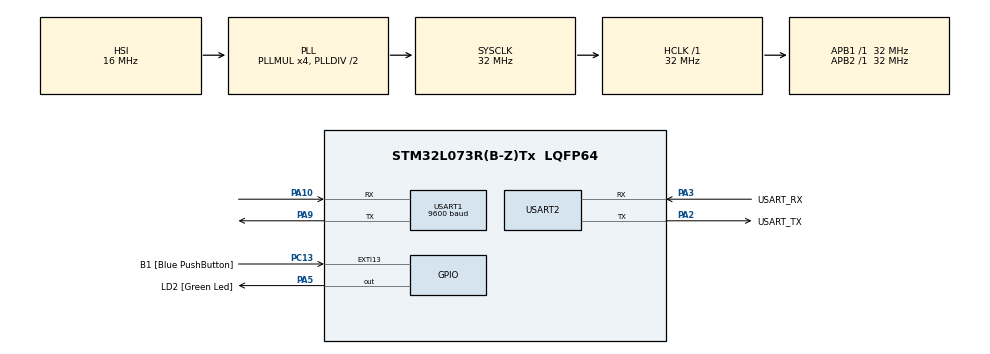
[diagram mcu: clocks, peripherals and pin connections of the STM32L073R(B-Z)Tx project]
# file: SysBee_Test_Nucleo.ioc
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Mcu.Family=STM32L0
Mcu.Name=STM32L073R(B-Z)Tx
Mcu.Package=LQFP64
PA10.Mode=Asynchronous
PA10.Signal=USART1_RX
PA13.GPIO_Label=TMS
PA13.Mode=Serial_Wire
PA13.Signal=SYS_SWDIO
PA14.GPIO_Label=TCK
PA14.Mode=Serial_Wire
PA14.Signal=SYS_SWCLK
PA2.GPIO_Label=USART_TX
PA2.Mode=Asynchronous
PA2.Signal=USART2_TX
PA3.GPIO_Label=USART_RX
PA3.Mode=Asynchronous
PA3.Signal=USART2_RX
PA5.GPIO_Label=LD2 [Green Led]
PA5.Signal=GPIO_Output
PA9.Mode=Asynchronous
PA9.Signal=USART1_TX
PC13.GPIO_Label=B1 [Blue PushButton]
PC13.GPIO_ModeDefaultEXTI=GPIO_MODE_IT_FALLING
PC13.Signal=GPXTI13
PC14-OSC32_IN.Mode=LSE-External-Oscillator
PC14-OSC32_IN.Signal=RCC_OSC32_IN
PC15-OSC32_OUT.Mode=LSE-External-Oscillator
PC15-OSC32_OUT.Signal=RCC_OSC32_OUT
PH0-OSC_IN.GPIO_Label=MCO
PH0-OSC_IN.Mode=HSE-External-Clock-Source
PH0-OSC_IN.Signal=RCC_OSC_IN
ProjectManager.HeapSize=0x200
ProjectManager.StackSize=0x400
ProjectManager.TargetToolchain=STM32CubeIDE
RCC.ADCEnable-ClockTree=false
RCC.AHBFreq_Value=32000000
RCC.APB1Freq_Value=32000000
RCC.APB1TimFreq_Value=32000000
RCC.APB2Freq_Value=32000000
RCC.APB2TimFreq_Value=32000000
RCC.HCLKFreq_Value=32000000
RCC.HSE_VALUE=8000000
RCC.HSI16_VALUE=16000000
RCC.HSI48_VALUE=48000000
RCC.HSI_VALUE=16000000
RCC.MSI_VALUE=2097000
RCC.PLLMUL=RCC_PLLMUL_4
RCC.SYSCLKFreq_VALUE=32000000
RCC.SYSCLKSource=RCC_SYSCLKSOURCE_PLLCLK
RCC.VCOOutputFreq_Value=64000000
USART1.BaudRate=9600
USART1.VirtualMode-Asynchronous=VM_ASYNC
USART2.VirtualMode-Asynchronous=VM_ASYNC
board=NUCLEO-L073RZ

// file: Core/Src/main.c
/* USER CODE BEGIN Header */

//PGM TEST DEV BOARD

/**
  ******************************************************************************
  * @file           : main.c
  * @brief          : Main program body
  ******************************************************************************
  * @attention
  *
  * <h2><center>&copy; Copyright (c) 2021 STMicroelectronics.
  * All rights reserved.</center></h2>
  *
  * This software component is licensed by ST under BSD 3-Clause license,
  * the "License"; You may not use this file except in compliance with the
  * License. You may obtain a copy of the License at:
  *                        opensource.org/licenses/BSD-3-Clause
  *
  ******************************************************************************
  */
/* USER CODE END Header */
#include "main.h"

/* USER CODE BEGIN PM */

#define transmit_request 0x10
#define receive_packet 0x90
#define remote_command_response 0x97
#define remote_AT_command_request 0x17

#define timeout_duration 200

/* USER CODE END PM */

UART_HandleTypeDef huart1;
UART_HandleTypeDef huart2;

/* USER CODE BEGIN PV */

uint8_t lora_status;
uint8_t xbee_rx_last_byte;
uint8_t xbee_rx_buffer[256];
uint8_t xbee_rx_read_index = 0;
uint8_t xbee_rx_write_index = 0;

uint8_t test_string[100] = { 0x7E, 0x00, 0x0F, 0x90, 0x00, 0x00, 0x00, 0x00, 0x00, 0x00, 0x00, 0x00, 0x00, 0x00, 0x00, 0xEE, 0xBA, 0xBA, 0x0D };

uint8_t config[20][2][10] = { 		//CONFIG INITIALE XBEE
	{"ID", "1111"}, // network id
	{"NI", "DEMOABC"}, // node id
	{"CE", "0"},	// coordinator mode
	{"AP", "1"},  	// API enable
	{"SP", "20"},	// cyclic sleep period
	{"SN", "100"},  // number of sleep periods
	{"SM", "0"},	// sleep mode
	{"ST", "500"}   // time before sleep
};
uint8_t config_step;

uint8_t config_length = 4;

enum xbee_send_states {		//AUTOMATE DE CONFIG INITIALE XBEE
	enter_command_mode,
	command_mode_ok,
	send_config,
	config_ok,
	single_command,
	single_command_ok,
	config_over
} xbee_send_state;

enum xbee_receive_states {
	idle,
	frame_length,
	frame_type,
	frame_id,
	frame_address64,
	frame_address16,
	frame_option,
	frame_at_status,
	frame_content,
	check_sum,
	process_content
} xbee_receive_state;

struct frame{
    uint16_t length;
    uint8_t type;
    uint8_t id; //AT
    uint64_t address64;
    uint16_t address16;
    uint8_t option;
    uint8_t content[256];
    uint8_t content_index;
    uint8_t command_status[4]; //AT
    uint8_t check_sum;
    uint8_t check_sum_ok;
};

//AT COMMANDS https://cdn.sparkfun.com/assets/resources/2/9/22AT_Commands.pdf

struct frame received_frame;

/* USER CODE END PV */

void SystemClock_Config(void);
static void MX_GPIO_Init(void);
static void MX_USART2_UART_Init(void);
static void MX_USART1_UART_Init(void);
/* USER CODE BEGIN PFP */

void HAL_UART_RxCpltCallback(UART_HandleTypeDef *huart);
void check_coordinator();
void read_xbee();

/* USER CODE END PFP */

int main(void)
{

  /* MCU Configuration--------------------------------------------------------*/

  /* Reset of all peripherals, Initializes the Flash interface and the Systick. */
  HAL_Init();

  /* Configure the system clock */
  SystemClock_Config();

  /* Initialize all configured peripherals */
  MX_GPIO_Init();
  MX_USART2_UART_Init();
  MX_USART1_UART_Init();
  /* USER CODE BEGIN 2 */

  HAL_UART_Receive_IT(&huart1, &xbee_rx_last_byte, 1);

  while(xbee_send_state != config_over){	//TANT QUE LA CONFIG N'EST PAS FINIE
	  static uint16_t timeout;
	  char string[50] = {0};
	  switch(xbee_send_state){

		  case enter_command_mode:
			  HAL_UART_Transmit(&huart1, "+++", 3, 100);	//entrée en Command Mode
			  timeout = 0;
			  xbee_send_state = command_mode_ok;
		  break;

		  case command_mode_ok:
			  if(xbee_rx_buffer[xbee_rx_write_index-2] == 'O' && xbee_rx_buffer[xbee_rx_write_index-1] == 'K'){		//vérification que la réponse est "OK"
				  xbee_send_state = single_command;
			  	  timeout = 0;
			  }
			  else {
				  HAL_Delay(1);		//si on n'obtient pas de "OK", on attend en incrémentant la variable de timeout
				  timeout++;
				  if (timeout >= timeout_duration)
					  xbee_send_state = enter_command_mode;		//si on timeout, on recommence la config
			  }
		  break;

		  case single_command:
			  HAL_UART_Transmit(&huart1, "ATRE\r", 5, 100);		//remise à défaut de tous les paramètres
			  timeout = 0;
			  xbee_send_state = single_command_ok;
		  break;

		  case single_command_ok:
			  if(xbee_rx_buffer[xbee_rx_write_index-2] == 'O' && xbee_rx_buffer[xbee_rx_write_index-1] == 'K'){		//vérifcation que la réponse est "OK"
				  xbee_send_state = send_config;
				  timeout = 0;
			  }
			  else {
				  HAL_Delay(1); 	//si on n'obtient pas de "OK", on attend en incrémentant la variable de timeout
				  timeout++;
				  if (timeout >= timeout_duration)
					  xbee_send_state = enter_command_mode; 	//si on timeout, on recommence la config
			  }
		  break;

		  case send_config:
			  if(config_step == config_length){		//si config_step == 4 (4e étape de config) (config_step est incrémenté dans un autre état)
				  sprintf(string, "ATWR\r");		//on écrit "ATWR" (commande Write) dans le tableau string
			  }
			  else sprintf(string, "AT%s%s\r", config[config_step][0], config[config_step][1]); 	//sinon on écrit dans string la commande AT de la ligne config_step de config[] (ex: ligne 0 -> ATID1111)
			  if(config_step==config_length){	//si config_step = 4, alors config_step = 4? pas compris l'intérêt
				  config_step = 4;
			  }
			  HAL_UART_Transmit(&huart1, string, strlen(string), 100);		//envoie string (soit ATWR soit une autre commande de config) à la carte XBee
			  xbee_send_state = config_ok;
		  break;

		  case config_ok:
			  if(xbee_rx_buffer[xbee_rx_write_index-2] == 'O' && xbee_rx_buffer[xbee_rx_write_index-1] == 'K'){ 	//vérifcation que la réponse est "OK"
				  if(config_step == config_length)		//si config_step==4 alors config terminée -> pas d'écriture d'une partie du tableau de config...
					  xbee_send_state = config_over;	//confi finie, on sort du while()
				  timeout = 0;
				  config_step++;	//sinon on incrémente config_step (pour envoyer la ligne suivante du tableau config, jusqu'à arriver à 4)
				  xbee_send_state = send_config;	//on retourne à l'état send_config pour écrire dans string la nouvelle commande AT de config et l'envoyer
			  }
			  else {
				  HAL_Delay(1);		//si on n'obtient pas de "OK", on attend en incrémentant la variable de timeout
				  timeout++;
				  if (timeout >= timeout_duration)
					  xbee_send_state = enter_command_mode;		//si on timeout, on recommence la config
			  }
		  break;

		  default: break;
	  }
  }

  /* USER CODE END 2 */

  /* Infinite loop */
  while (1)
  {

    /* USER CODE BEGIN 3 */

	  if(xbee_rx_read_index<xbee_rx_write_index){
		  uint64_t sum = 0;
		  static uint8_t multiple_byte_step;

		  switch (xbee_receive_state){
			  case idle:
				  if(xbee_rx_buffer[xbee_rx_read_index] == 0x7E) xbee_receive_state = frame_length;
				  /*else if (lora_requested && xbee_rx_buffer[xbee_rx_read_index] == 0xAA){
					  is_coordinator = True;
					  lora_requested = False;
				  }*/
			  break;

			  case frame_length:
				  received_frame.length += ((uint16_t)(xbee_rx_buffer[xbee_rx_read_index])) << (8-8*multiple_byte_step) ;
				  if(multiple_byte_step){
					  multiple_byte_step = 0;
					  xbee_receive_state = frame_type;
				  }
				  else{
					  multiple_byte_step++;
				  }
			  break;

			  case frame_type:
				  received_frame.type = xbee_rx_buffer[xbee_rx_read_index];
				  switch(received_frame.type){
				  	  case receive_packet: xbee_receive_state = frame_address64; break;
				  	  case remote_command_response: xbee_receive_state = frame_id; break;
				  	  default: xbee_rx_read_index = xbee_rx_write_index;
				  	  	  	   xbee_receive_state = idle;
				  	  break;
				  }

				  multiple_byte_step = 0;
			  break;

			  case frame_id:
				  received_frame.id = xbee_rx_buffer[xbee_rx_read_index];
				  xbee_receive_state = frame_address64;
			  break;

			  case frame_address64:
				  received_frame.address64 += ((uint64_t)xbee_rx_buffer[xbee_rx_read_index]) << (56-8*multiple_byte_step);

				  if(multiple_byte_step == 7){
					  xbee_receive_state = frame_address16;
					  multiple_byte_step = 0;
				  }
				  else multiple_byte_step++;
			  break;

			  case frame_address16:
				  received_frame.address16 += ((uint16_t)xbee_rx_buffer[xbee_rx_read_index]) << (8-8*multiple_byte_step);
				  if(multiple_byte_step == 1){
					  switch(received_frame.type){
					  	  case receive_packet: xbee_receive_state = frame_option; break;
					  	  case remote_command_response: xbee_receive_state = frame_at_status; break;
					  	  default: xbee_rx_read_index = xbee_rx_write_index;
							       xbee_receive_state = idle;
						  break;
					  }

					  multiple_byte_step = 0;
				  }
				  else multiple_byte_step++;
			  break;

			  case frame_option:
				  received_frame.option = xbee_rx_buffer[xbee_rx_read_index];
				  xbee_receive_state = frame_content;
			  break;

			  case frame_at_status:
				  received_frame.command_status[multiple_byte_step] = xbee_rx_buffer[xbee_rx_read_index];
				  if(multiple_byte_step == 2){
					  multiple_byte_step = 0;
					  xbee_receive_state = frame_content;
				  }
				  else multiple_byte_step++;
			  break;

			  case frame_content:
				  received_frame.content[received_frame.content_index] = xbee_rx_buffer[xbee_rx_read_index];
				  if(((received_frame.content_index == received_frame.length-13) && received_frame.type==receive_packet) || ((received_frame.content_index == received_frame.length-16) && (received_frame.type==remote_command_response)))
					  xbee_receive_state = check_sum;
				  else
					  received_frame.content_index++;
			  break;

			  case check_sum:
				  received_frame.check_sum = xbee_rx_buffer[xbee_rx_read_index];
				  for(uint8_t i=0; i<8; i++) sum += (((uint64_t)0xFF<<(56-8*i)) & received_frame.address64)>>(56-8*i);
				  for(uint8_t i=0; i<2; i++) sum += (((uint16_t)0xFF<<(8-8*i)) & received_frame.address16)>>(8-i*8);
				  if(received_frame.id==receive_packet) for(uint16_t i=0; i<received_frame.length-12; i++) sum += received_frame.content[i];
				  else if(received_frame.type==remote_command_response){
					  for(uint16_t i=0; i<received_frame.length-15; i++) sum += received_frame.content[i];
					  for(uint8_t i=0; i<4; i++) sum += received_frame.command_status[i];
				  }
				  sum += received_frame.type + received_frame.option + received_frame.id + received_frame.check_sum;
				  received_frame.check_sum_ok = (sum & 0xFF) == 0xFF;
				  xbee_receive_state = idle;
			  break;

			  case process_content:
				  0;
			  break;
		  }

		  xbee_rx_read_index += 1;

	  }

	  read_xbee();
  }
  /* USER CODE END 3 */
}

void SystemClock_Config(void)
{
  RCC_OscInitTypeDef RCC_OscInitStruct = {0};
  RCC_ClkInitTypeDef RCC_ClkInitStruct = {0};
  RCC_PeriphCLKInitTypeDef PeriphClkInit = {0};

  /** Configure the main internal regulator output voltage
  */
  __HAL_PWR_VOLTAGESCALING_CONFIG(PWR_REGULATOR_VOLTAGE_SCALE1);
  /** Initializes the RCC Oscillators according to the specified parameters
  * in the RCC_OscInitTypeDef structure.
  */
  RCC_OscInitStruct.OscillatorType = RCC_OSCILLATORTYPE_HSI;
  RCC_OscInitStruct.HSIState = RCC_HSI_ON;
  RCC_OscInitStruct.HSICalibrationValue = RCC_HSICALIBRATION_DEFAULT;
  RCC_OscInitStruct.PLL.PLLState = RCC_PLL_ON;
  RCC_OscInitStruct.PLL.PLLSource = RCC_PLLSOURCE_HSI;
  RCC_OscInitStruct.PLL.PLLMUL = RCC_PLLMUL_4;
  RCC_OscInitStruct.PLL.PLLDIV = RCC_PLLDIV_2;
  if (HAL_RCC_OscConfig(&RCC_OscInitStruct) != HAL_OK)
  {
    Error_Handler();
  }
  /** Initializes the CPU, AHB and APB buses clocks
  */
  RCC_ClkInitStruct.ClockType = RCC_CLOCKTYPE_HCLK|RCC_CLOCKTYPE_SYSCLK
                              |RCC_CLOCKTYPE_PCLK1|RCC_CLOCKTYPE_PCLK2;
  RCC_ClkInitStruct.SYSCLKSource = RCC_SYSCLKSOURCE_PLLCLK;
  RCC_ClkInitStruct.AHBCLKDivider = RCC_SYSCLK_DIV1;
  RCC_ClkInitStruct.APB1CLKDivider = RCC_HCLK_DIV1;
  RCC_ClkInitStruct.APB2CLKDivider = RCC_HCLK_DIV1;

  if (HAL_RCC_ClockConfig(&RCC_ClkInitStruct, FLASH_LATENCY_1) != HAL_OK)
  {
    Error_Handler();
  }
  PeriphClkInit.PeriphClockSelection = RCC_PERIPHCLK_USART1|RCC_PERIPHCLK_USART2;
  PeriphClkInit.Usart1ClockSelection = RCC_USART1CLKSOURCE_PCLK2;
  PeriphClkInit.Usart2ClockSelection = RCC_USART2CLKSOURCE_PCLK1;
  if (HAL_RCCEx_PeriphCLKConfig(&PeriphClkInit) != HAL_OK)
  {
    Error_Handler();
  }
}

static void MX_USART1_UART_Init(void)
{

  huart1.Instance = USART1;
  huart1.Init.BaudRate = 9600;
  huart1.Init.WordLength = UART_WORDLENGTH_8B;
  huart1.Init.StopBits = UART_STOPBITS_1;
  huart1.Init.Parity = UART_PARITY_NONE;
  huart1.Init.Mode = UART_MODE_TX_RX;
  huart1.Init.HwFlowCtl = UART_HWCONTROL_NONE;
  huart1.Init.OverSampling = UART_OVERSAMPLING_16;
  huart1.Init.OneBitSampling = UART_ONE_BIT_SAMPLE_DISABLE;
  huart1.AdvancedInit.AdvFeatureInit = UART_ADVFEATURE_NO_INIT;
  if (HAL_UART_Init(&huart1) != HAL_OK)
  {
    Error_Handler();
  }

}

static void MX_USART2_UART_Init(void)
{

  huart2.Instance = USART2;
  huart2.Init.BaudRate = 115200;
  huart2.Init.WordLength = UART_WORDLENGTH_8B;
  huart2.Init.StopBits = UART_STOPBITS_1;
  huart2.Init.Parity = UART_PARITY_NONE;
  huart2.Init.Mode = UART_MODE_TX_RX;
  huart2.Init.HwFlowCtl = UART_HWCONTROL_NONE;
  huart2.Init.OverSampling = UART_OVERSAMPLING_16;
  huart2.Init.OneBitSampling = UART_ONE_BIT_SAMPLE_DISABLE;
  huart2.AdvancedInit.AdvFeatureInit = UART_ADVFEATURE_NO_INIT;
  if (HAL_UART_Init(&huart2) != HAL_OK)
  {
    Error_Handler();
  }

}

static void MX_GPIO_Init(void)
{
  GPIO_InitTypeDef GPIO_InitStruct = {0};

  /* GPIO Ports Clock Enable */
  __HAL_RCC_GPIOC_CLK_ENABLE();
  __HAL_RCC_GPIOH_CLK_ENABLE();
  __HAL_RCC_GPIOA_CLK_ENABLE();

  /*Configure GPIO pin Output Level */
  HAL_GPIO_WritePin(LD2_GPIO_Port, LD2_Pin, GPIO_PIN_RESET);

  /*Configure GPIO pin : B1_Pin */
  GPIO_InitStruct.Pin = B1_Pin;
  GPIO_InitStruct.Mode = GPIO_MODE_IT_FALLING;
  GPIO_InitStruct.Pull = GPIO_NOPULL;
  HAL_GPIO_Init(B1_GPIO_Port, &GPIO_InitStruct);

  /*Configure GPIO pin : LD2_Pin */
  GPIO_InitStruct.Pin = LD2_Pin;
  GPIO_InitStruct.Mode = GPIO_MODE_OUTPUT_PP;
  GPIO_InitStruct.Pull = GPIO_NOPULL;
  GPIO_InitStruct.Speed = GPIO_SPEED_FREQ_LOW;
  HAL_GPIO_Init(LD2_GPIO_Port, &GPIO_InitStruct);

}

/* USER CODE BEGIN 4 */

void HAL_UART_RxCpltCallback(UART_HandleTypeDef *huart)
{
	if (huart->Instance == USART1){
	    xbee_rx_buffer[xbee_rx_write_index] = xbee_rx_last_byte;
	    xbee_rx_write_index++;
	    HAL_UART_Receive_IT(&huart1, &xbee_rx_last_byte, 1);
	}

}

void read_xbee(){

  if(xbee_rx_read_index<xbee_rx_write_index){
	  uint64_t sum = 0;
	  static uint8_t multiple_byte_step;

	  switch (xbee_receive_state){
		  case idle:
			  if(xbee_rx_buffer[xbee_rx_read_index] == 0x7E) xbee_receive_state = frame_length;
			  /*else if (lora_requested && xbee_rx_buffer[xbee_rx_read_index] == 0xAA){
				  is_coordinator = True;
				  lora_requested = False;
			  }*/
		  break;

		  case frame_length:
			  received_frame.length += ((uint16_t)(xbee_rx_buffer[xbee_rx_read_index])) << (8-8*multiple_byte_step) ;
			  if(multiple_byte_step){
				  multiple_byte_step = 0;
				  xbee_receive_state = frame_type;
			  }
			  else{
				  multiple_byte_step++;
			  }
		  break;

		  case frame_type:
			  received_frame.type = xbee_rx_buffer[xbee_rx_read_index];
			  switch(received_frame.type){
				  case receive_packet: xbee_receive_state = frame_address64; break;
				  case remote_command_response: xbee_receive_state = frame_id; break;
				  default: xbee_rx_read_index = xbee_rx_write_index;
						   xbee_receive_state = idle;
				  break;
			  }

			  multiple_byte_step = 0;
		  break;

		  case frame_id:
			  received_frame.id = xbee_rx_buffer[xbee_rx_read_index];
			  xbee_receive_state = frame_address64;
		  break;

		  case frame_address64:
			  received_frame.address64 += ((uint64_t)xbee_rx_buffer[xbee_rx_read_index]) << (56-8*multiple_byte_step);

			  if(multiple_byte_step == 7){
				  xbee_receive_state = frame_address16;
				  multiple_byte_step = 0;
			  }
			  else multiple_byte_step++;
		  break;

		  case frame_address16:
			  received_frame.address16 += ((uint16_t)xbee_rx_buffer[xbee_rx_read_index]) << (8-8*multiple_byte_step);
			  if(multiple_byte_step == 1){
				  switch(received_frame.type){
					  case receive_packet: xbee_receive_state = frame_option; break;
					  case remote_command_response: xbee_receive_state = frame_at_status; break;
					  default: xbee_rx_read_index = xbee_rx_write_index;
							   xbee_receive_state = idle;
					  break;
				  }

				  multiple_byte_step = 0;
			  }
			  else multiple_byte_step++;
		  break;

		  case frame_option:
			  received_frame.option = xbee_rx_buffer[xbee_rx_read_index];
			  xbee_receive_state = frame_content;
		  break;

		  case frame_at_status:
			  received_frame.command_status[multiple_byte_step] = xbee_rx_buffer[xbee_rx_read_index];
			  if(multiple_byte_step == 2){
				  multiple_byte_step = 0;
				  xbee_receive_state = frame_content;
			  }
			  else multiple_byte_step++;
		  break;

		  case frame_content:
			  received_frame.content[received_frame.content_index] = xbee_rx_buffer[xbee_rx_read_index];
			  if(((received_frame.content_index == received_frame.length-13) && received_frame.type==receive_packet) || ((received_frame.content_index == received_frame.length-16) && (received_frame.type==remote_command_response)))
				  xbee_receive_state = check_sum;
			  else
				  received_frame.content_index++;
		  break;

		  case check_sum:
			  received_frame.check_sum = xbee_rx_buffer[xbee_rx_read_index];
			  for(uint8_t i=0; i<8; i++) sum += (((uint64_t)0xFF<<(56-8*i)) & received_frame.address64)>>(56-8*i);
			  for(uint8_t i=0; i<2; i++) sum += (((uint16_t)0xFF<<(8-8*i)) & received_frame.address16)>>(8-i*8);
			  if(received_frame.id==receive_packet) for(uint16_t i=0; i<received_frame.length-12; i++) sum += received_frame.content[i];
			  else if(received_frame.type==remote_command_response){
				  for(uint16_t i=0; i<received_frame.length-15; i++) sum += received_frame.content[i];
				  for(uint8_t i=0; i<4; i++) sum += received_frame.command_status[i];
			  }
			  sum += received_frame.type + received_frame.option + received_frame.id + received_frame.check_sum;
			  received_frame.check_sum_ok = (sum & 0xFF) == 0xFF;
			  xbee_receive_state = idle;
		  break;

		  case process_content:
			  0;
		  break;
	  }

	  xbee_rx_read_index += 1;

  }
}

/* USER CODE END 4 */

void Error_Handler(void)
{
  __disable_irq();
  while (1)
  {
  }
}

/************************ (C) COPYRIGHT STMicroelectronics *****END OF FILE****/
